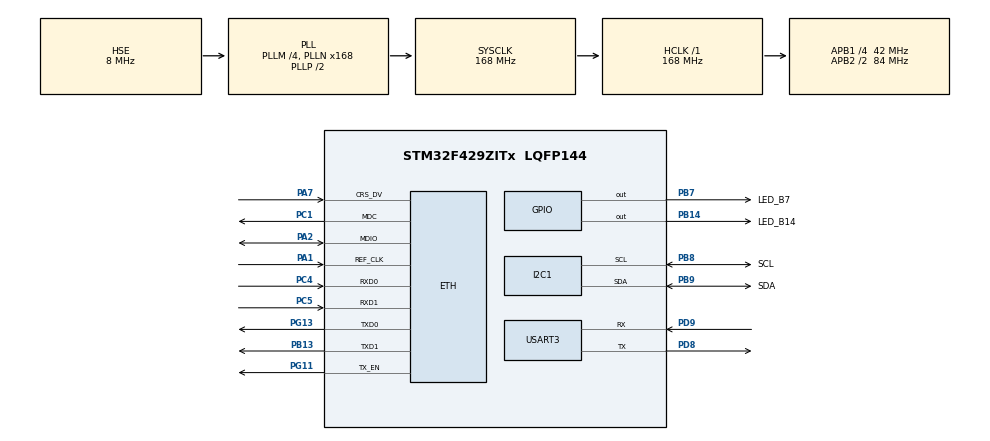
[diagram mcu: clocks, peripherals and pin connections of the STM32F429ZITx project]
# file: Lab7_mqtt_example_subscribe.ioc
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ETH.MACAddr=00\:80\:E1\:CD\:FF\:AE
ETH.MediaInterface=HAL_ETH_RMII_MODE
FREERTOS.Tasks01=defaultTask,24,128,StartDefaultTask,Default,NULL,Dynamic,NULL,NULL
FREERTOS.configTOTAL_HEAP_SIZE=25360
LWIP.BSP.number=1
LWIP.MEMP_NUM_SYS_TIMEOUT=13
LWIP.MEM_SIZE=10*1024
LWIP.Version=v2.1.2_Cube
LWIP0.BSP.STBoard=false
LWIP0.BSP.api=BSP_COMPONENT_DRIVER
LWIP0.BSP.component=LAN8742
LWIP0.BSP.instance=LAN8742
LWIP0.BSP.name=Driver_PHY
LWIP0.BSP.semaphore=S_LAN8742
LWIP0.BSP.solution=LAN8742
Mcu.Family=STM32F4
Mcu.Name=STM32F429ZITx
Mcu.Package=LQFP144
NVIC.ETH_IRQn=true\:5\:0\:false\:false\:true\:true\:false\:true\:true
NVIC.PriorityGroup=NVIC_PRIORITYGROUP_4
NVIC.TIM1_UP_TIM10_IRQn=true\:15\:0\:false\:false\:true\:false\:false\:true\:true
NVIC.TimeBase=TIM1_UP_TIM10_IRQn
NVIC.TimeBaseIP=TIM1
PA1.Mode=RMII
PA1.Signal=ETH_REF_CLK
PA13.Mode=Serial_Wire
PA13.Signal=SYS_JTMS-SWDIO
PA14.Mode=Serial_Wire
PA14.Signal=SYS_JTCK-SWCLK
PA2.Mode=RMII
PA2.Signal=ETH_MDIO
PA7.Mode=RMII
PA7.Signal=ETH_CRS_DV
PB13.Mode=RMII
PB13.Signal=ETH_TXD1
PB14.GPIO_Label=LED_B14
PB14.Signal=GPIO_Output
PB7.GPIO_Label=LED_B7
PB7.Signal=GPIO_Output
PB8.GPIO_Label=SCL
PB8.Mode=I2C
PB8.Signal=I2C1_SCL
PB9.GPIO_Label=SDA
PB9.Mode=I2C
PB9.Signal=I2C1_SDA
PC1.Mode=RMII
PC1.Signal=ETH_MDC
PC14/OSC32_IN.Mode=LSE-External-Oscillator
PC14/OSC32_IN.Signal=RCC_OSC32_IN
PC15/OSC32_OUT.Mode=LSE-External-Oscillator
PC15/OSC32_OUT.Signal=RCC_OSC32_OUT
PC4.Mode=RMII
PC4.Signal=ETH_RXD0
PC5.Mode=RMII
PC5.Signal=ETH_RXD1
PD8.Mode=Asynchronous
PD8.Signal=USART3_TX
PD9.Mode=Asynchronous
PD9.Signal=USART3_RX
PG11.Mode=RMII
PG11.Signal=ETH_TX_EN
PG13.Mode=RMII
PG13.Signal=ETH_TXD0
PH0/OSC_IN.Mode=HSE-External-Oscillator
PH0/OSC_IN.Signal=RCC_OSC_IN
PH1/OSC_OUT.Mode=HSE-External-Oscillator
PH1/OSC_OUT.Signal=RCC_OSC_OUT
ProjectManager.HeapSize=0x200
ProjectManager.StackSize=0x400
ProjectManager.TargetToolchain=MDK-ARM V5.32
RCC.48MHZClocksFreq_Value=48000000
RCC.AHBFreq_Value=168000000
RCC.APB1CLKDivider=RCC_HCLK_DIV4
RCC.APB1Freq_Value=42000000
RCC.APB1TimFreq_Value=84000000
RCC.APB2CLKDivider=RCC_HCLK_DIV2
RCC.APB2Freq_Value=84000000
RCC.APB2TimCLKDivider=2
RCC.APB2TimFreq_Value=168000000
RCC.CortexFreq_Value=168000000
RCC.HCLKFreq_Value=168000000
RCC.HSE_VALUE=8000000
RCC.HSI_VALUE=16000000
RCC.PLLM=4
RCC.PLLMUL=RCC_PLL_MUL9
RCC.PLLN=168
RCC.PLLQ=7
RCC.PLLSourceVirtual=RCC_PLLSOURCE_HSE
RCC.PRESCALERUSB=RCC_USBCLKSOURCE_PLL_DIV1_5
RCC.SYSCLKFreq_VALUE=168000000
RCC.SYSCLKSource=RCC_SYSCLKSOURCE_PLLCLK
RCC.SYSCLKSourceVirtual=RCC_SYSCLKSOURCE_PLLCLK
RCC.USBFreq_Value=48000000
RCC.VCOOutputFreq_Value=336000000
USART3.VirtualMode=VM_ASYNC
VP_FREERTOS_VS_CMSIS_V2.Mode=CMSIS_V2
VP_LWIP_VS_Enabled.Mode=Enabled
VP_SYS_VS_tim1.Mode=TIM1
board=NUCLEO-F429ZI

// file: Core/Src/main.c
/* USER CODE BEGIN Header */
/**
  ******************************************************************************
  * @file           : main.c
  * @brief          : Main program body
  ******************************************************************************
  * @attention
  *
  * Copyright (c) 2025 STMicroelectronics.
  * All rights reserved.
  *
  * This software is licensed under terms that can be found in the LICENSE file
  * in the root directory of this software component.
  * If no LICENSE file comes with this software, it is provided AS-IS.
  *
  ******************************************************************************
  */
/* USER CODE END Header */
#include "main.h"
#include "cmsis_os.h"
#include "i2c.h"
#include "lwip.h"
#include "usart.h"
#include "gpio.h"

/* USER CODE BEGIN Includes */
#include "lwip/apps/mqtt.h"
#include "FreeRTOS.h"
#include "oled.h"
#include "queue.h"
#include "semphr.h"
#include "string.h"
#include "stdbool.h"
#include "task.h"
#include "u8g2.h"
/* USER CODE END Includes */

/* USER CODE BEGIN PTD */
typedef enum {
  TOPIC_COUNT = 0,
  TOPIC_LED = 1,
  TOPIC_MESSAGE = 2,
  TOPIC_UNKNOWN = 3
} TopicId_t;

typedef struct {
  char count[10];
  char ledStatus[10];
} DisplayData_t;
/* USER CODE END PTD */

/* USER CODE BEGIN PV */
TopicId_t currentTopicId = TOPIC_UNKNOWN;
mqtt_client_t *mqttClient = NULL;

u8g2_t u8g2;
QueueHandle_t queueDisplayData;

SemaphoreHandle_t xSemMqttReconnect;
SemaphoreHandle_t xSemLED;
TaskHandle_t handleMQTT;
TaskHandle_t handleOLED;
TaskHandle_t handleLED;

DisplayData_t displayData = {
  .count = "0",
  .ledStatus = "Off"
};
/* USER CODE END PV */

void SystemClock_Config(void);
void MX_FREERTOS_Init(void);
/* USER CODE BEGIN PFP */
void mqtt_connection_cb(mqtt_client_t *client, void *arg, mqtt_connection_status_t status);
void mqtt_incoming_topic_cb(void *arg, const char *topic, u32_t tot_len);
void mqtt_incoming_data_cb(void *arg, const u8_t *data, u16_t len, u8_t flags);
void mqtt_sub_request_cb(void *arg, err_t result);

void taskMQTT(void *pvParameters);
void taskOLED(void *pvParameters);
void taskLED(void *pvParameters);
/* USER CODE END PFP */

/* USER CODE BEGIN 0 */

/*
 * MQTT Callback Functions
 */

 // Connection callback
void mqtt_connection_cb(mqtt_client_t *client, void *arg, mqtt_connection_status_t status){
  if (status == MQTT_CONNECT_ACCEPTED){
    HAL_GPIO_WritePin(LED_B7_GPIO_Port, LED_B7_Pin, GPIO_PIN_SET);
    printf("MQTT connected successfully!\r\n");

    mqtt_set_inpub_callback(client, mqtt_incoming_topic_cb, mqtt_incoming_data_cb, NULL);

    mqtt_subscribe(client, "Lab7/Count", 0, NULL, NULL);
    mqtt_subscribe(client, "Lab7/LED", 0, NULL, NULL);
    mqtt_subscribe(client, "Lab7/Message", 0, NULL, NULL);
  }else{
    HAL_GPIO_WritePin(LED_B7_GPIO_Port, LED_B7_Pin, GPIO_PIN_RESET);
    printf("MQTT connection failed! Error code: %d\r\n", status);

    xSemaphoreGive(xSemMqttReconnect);
  }
}

// Incoming topic callback
void mqtt_incoming_topic_cb(void *arg, const char *topic, u32_t tot_len) {
  printf("MQTT: Message received on topic: %s\r\n", topic);

  // Determine topic ID
  if (strcmp(topic, "Lab7/Count") == 0) {
    currentTopicId = TOPIC_COUNT;
  } else if (strcmp(topic, "Lab7/LED") == 0) {
    currentTopicId = TOPIC_LED;
  } else if (strcmp(topic, "Lab7/Message") == 0) {
    currentTopicId = TOPIC_MESSAGE;
  } else{
    currentTopicId = TOPIC_UNKNOWN;
  }
}

// Incoming data callback
void mqtt_incoming_data_cb(void *arg, const u8_t *data, u16_t len, u8_t flags){
  // Convert incoming data
  char receiveBuffer[len];
  memcpy(receiveBuffer, data, len);
  receiveBuffer[len] = '\0';

  printf("Received message: \"%s\"\r\n", receiveBuffer);

  // Data setting
  switch (currentTopicId){
    case TOPIC_COUNT:
      if (len <= sizeof(displayData.count)){
        memcpy(displayData.count, receiveBuffer, len);
        displayData.count[len] = '\0';
      }
      break;

    case TOPIC_LED:
      if (len <= sizeof(displayData.ledStatus)){
        memcpy(displayData.ledStatus, receiveBuffer, len);
        displayData.ledStatus[len] = '\0';

        xSemaphoreGive(xSemLED);
      }
      break;

    default:
      return;
  }

  xQueueSend(queueDisplayData, &displayData, NULL);
}

// Subscribe request callback
void mqtt_sub_request_cb(void *arg, err_t result){
  if (result != ERR_OK){
    printf("Subscribe result: %d\r\n", result);
  }
}

/*
 * FreeRTOS Task Functions
 */

// MQTT initial task
void taskMQTT(void *pvParameters){
  MX_LWIP_Init();

  mqttClient = mqtt_client_new();

  struct mqtt_connect_client_info_t mqtt_connect_info = {
    .client_id = "M11317045_B",
    .client_user = "CSIE3041",
    .client_pass = "000000",
    .keep_alive = 20,
    .will_topic = "Lab7/Last_will",
    .will_msg = "Goodbye client_B!",
    .will_qos = 0,
    .will_retain = 0
  };

  ip_addr_t mqttBrokerAddr;
  IP_ADDR4(&mqttBrokerAddr, 140, 125, 33, 185);

  err_t connectResult;
  while(1){
    if (!mqtt_client_is_connected(mqttClient)){
      connectResult = mqtt_client_connect(mqttClient, &mqttBrokerAddr, MQTT_PORT,
                                               mqtt_connection_cb, NULL, &mqtt_connect_info);

      if (connectResult != ERR_OK){
        printf("MQTT connect returned error: %d\r\n", connectResult);
        if (connectResult == ERR_ISCONN) {
          mqtt_disconnect(mqttClient);
        }
      }
    } else{
      xSemaphoreTake(xSemMqttReconnect, portMAX_DELAY);
    }
    vTaskDelay(1000);
  }
}

// OLED display task
void taskOLED(void *pvParameters){
  u8g2Init(&u8g2);
  u8g2_ClearBuffer(&u8g2);
  u8g2_ClearDisplay(&u8g2);
  u8g2_SetFont(&u8g2, u8g2_font_samim_16_t_all);

  char displayCount[20];
  char displayLedStatus[20];

  while(1){
    xQueueReceive(queueDisplayData, &displayData, portMAX_DELAY);

    snprintf(displayCount, sizeof(displayCount), "Count: %s", displayData.count);
    snprintf(displayLedStatus, sizeof(displayLedStatus), "LED: %s", displayData.ledStatus);

    u8g2_ClearBuffer(&u8g2);
    u8g2_DrawStr(&u8g2, 15, 30, displayCount);
    u8g2_DrawStr(&u8g2, 15, 50, displayLedStatus);
    u8g2_SendBuffer(&u8g2);
  }
}

// LED control task
void taskLED(void *pvParameters){
  HAL_GPIO_WritePin(LED_B14_GPIO_Port, LED_B14_Pin, GPIO_PIN_RESET);

  while(1){
    if (xSemaphoreTake(xSemLED, portMAX_DELAY) == pdTRUE){
      if (strcmp(displayData.ledStatus, "On") == 0) {
        HAL_GPIO_WritePin(LED_B14_GPIO_Port, LED_B14_Pin, GPIO_PIN_SET);
      } else if (strcmp(displayData.ledStatus, "Off") == 0){
        HAL_GPIO_WritePin(LED_B14_GPIO_Port, LED_B14_Pin, GPIO_PIN_RESET);
      }
    }
  }
}
/* USER CODE END 0 */

int main(void)
{

  /* MCU Configuration--------------------------------------------------------*/

  /* Reset of all peripherals, Initializes the Flash interface and the Systick. */
  HAL_Init();

  /* Configure the system clock */
  SystemClock_Config();

  /* Initialize all configured peripherals */
  MX_GPIO_Init();
  MX_USART3_UART_Init();
  MX_I2C1_Init();
  /* USER CODE BEGIN 2 */
  xSemMqttReconnect = xSemaphoreCreateBinary();
  xSemLED = xSemaphoreCreateBinary();
  queueDisplayData = xQueueCreate(3, sizeof(DisplayData_t));

	xTaskCreate(taskMQTT, "MQTT", 1024, NULL, 3, &handleMQTT);
  xTaskCreate(taskOLED, "OLED", 256, NULL, 2, &handleOLED);
  xTaskCreate(taskLED, "LED", 256, NULL, 1, &handleLED);

	printf("B_StartScheduler \r\n");
	vTaskStartScheduler();
  /* USER CODE END 2 */

  /* Init scheduler */
  osKernelInitialize();  /* Call init function for freertos objects (in freertos.c) */
  MX_FREERTOS_Init();

  /* Start scheduler */
  osKernelStart();

  /* We should never get here as control is now taken by the scheduler */
  /* Infinite loop */
  while (1)
  {

  }
}

void SystemClock_Config(void)
{
  RCC_OscInitTypeDef RCC_OscInitStruct = {0};
  RCC_ClkInitTypeDef RCC_ClkInitStruct = {0};

  /** Configure the main internal regulator output voltage
  */
  __HAL_RCC_PWR_CLK_ENABLE();
  __HAL_PWR_VOLTAGESCALING_CONFIG(PWR_REGULATOR_VOLTAGE_SCALE1);

  /** Initializes the RCC Oscillators according to the specified parameters
  * in the RCC_OscInitTypeDef structure.
  */
  RCC_OscInitStruct.OscillatorType = RCC_OSCILLATORTYPE_HSE;
  RCC_OscInitStruct.HSEState = RCC_HSE_ON;
  RCC_OscInitStruct.PLL.PLLState = RCC_PLL_ON;
  RCC_OscInitStruct.PLL.PLLSource = RCC_PLLSOURCE_HSE;
  RCC_OscInitStruct.PLL.PLLM = 4;
  RCC_OscInitStruct.PLL.PLLN = 168;
  RCC_OscInitStruct.PLL.PLLP = RCC_PLLP_DIV2;
  RCC_OscInitStruct.PLL.PLLQ = 7;
  if (HAL_RCC_OscConfig(&RCC_OscInitStruct) != HAL_OK)
  {
    Error_Handler();
  }

  /** Initializes the CPU, AHB and APB buses clocks
  */
  RCC_ClkInitStruct.ClockType = RCC_CLOCKTYPE_HCLK|RCC_CLOCKTYPE_SYSCLK
                              |RCC_CLOCKTYPE_PCLK1|RCC_CLOCKTYPE_PCLK2;
  RCC_ClkInitStruct.SYSCLKSource = RCC_SYSCLKSOURCE_PLLCLK;
  RCC_ClkInitStruct.AHBCLKDivider = RCC_SYSCLK_DIV1;
  RCC_ClkInitStruct.APB1CLKDivider = RCC_HCLK_DIV4;
  RCC_ClkInitStruct.APB2CLKDivider = RCC_HCLK_DIV2;

  if (HAL_RCC_ClockConfig(&RCC_ClkInitStruct, FLASH_LATENCY_5) != HAL_OK)
  {
    Error_Handler();
  }
}

void HAL_TIM_PeriodElapsedCallback(TIM_HandleTypeDef *htim)
{
  if (htim->Instance == TIM1) {
    HAL_IncTick();
  }
}

void Error_Handler(void)
{
  __disable_irq();
  while (1)
  {
  }
}
